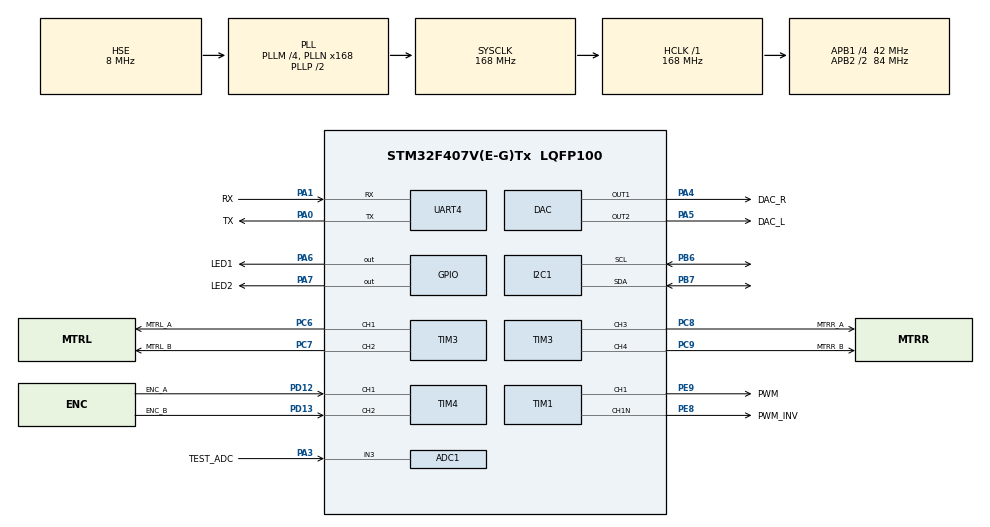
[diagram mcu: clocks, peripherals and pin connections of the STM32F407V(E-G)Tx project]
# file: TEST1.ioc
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ADC1.Channel-2\#ChannelRegularConversion=ADC_CHANNEL_3
ADC1.NbrOfConversionFlag=1
ADC1.Rank-2\#ChannelRegularConversion=1
ADC1.SamplingTime-2\#ChannelRegularConversion=ADC_SAMPLETIME_3CYCLES
ADC1.master=1
Dma.ADC1.0.Direction=DMA_PERIPH_TO_MEMORY
Dma.ADC1.0.FIFOMode=DMA_FIFOMODE_DISABLE
Dma.ADC1.0.Instance=DMA2_Stream0
Dma.ADC1.0.MemDataAlignment=DMA_MDATAALIGN_HALFWORD
Dma.ADC1.0.MemInc=DMA_MINC_ENABLE
Dma.ADC1.0.Mode=DMA_CIRCULAR
Dma.ADC1.0.PeriphDataAlignment=DMA_PDATAALIGN_HALFWORD
Dma.ADC1.0.PeriphInc=DMA_PINC_DISABLE
Dma.ADC1.0.Priority=DMA_PRIORITY_LOW
Dma.Request0=ADC1
Mcu.Family=STM32F4
Mcu.Name=STM32F407V(E-G)Tx
Mcu.Package=LQFP100
NVIC.DMA2_Stream0_IRQn=true\:0\:0\:false\:false\:true\:false\:true\:true
NVIC.PriorityGroup=NVIC_PRIORITYGROUP_4
PA0-WKUP.GPIO_Label=TX
PA0-WKUP.Mode=Asynchronous
PA0-WKUP.Signal=UART4_TX
PA1.GPIO_Label=RX
PA1.Mode=Asynchronous
PA1.Signal=UART4_RX
PA13.Mode=Trace_Asynchronous_SW
PA13.Signal=SYS_JTMS-SWDIO
PA14.Mode=Trace_Asynchronous_SW
PA14.Signal=SYS_JTCK-SWCLK
PA3.GPIO_Label=TEST_ADC
PA3.Signal=ADCx_IN3
PA4.GPIO_Label=DAC_R
PA4.Signal=COMP_DAC1_group
PA5.GPIO_Label=DAC_L
PA5.Signal=COMP_DAC2_group
PA6.GPIO_Label=LED1
PA6.Signal=GPIO_Output
PA7.GPIO_Label=LED2
PA7.Signal=GPIO_Output
PB3.Mode=Trace_Asynchronous_SW
PB3.Signal=SYS_JTDO-SWO
PB6.Mode=I2C
PB6.Signal=I2C1_SCL
PB7.Mode=I2C
PB7.Signal=I2C1_SDA
PC14-OSC32_IN.Mode=LSE-External-Oscillator
PC14-OSC32_IN.Signal=RCC_OSC32_IN
PC15-OSC32_OUT.Mode=LSE-External-Oscillator
PC15-OSC32_OUT.Signal=RCC_OSC32_OUT
PC6.GPIO_Label=MTRL_A
PC6.Signal=S_TIM3_CH1
PC7.GPIO_Label=MTRL_B
PC7.Signal=S_TIM3_CH2
PC8.GPIO_Label=MTRR_A
PC8.Signal=S_TIM3_CH3
PC9.GPIO_Label=MTRR_B
PC9.Signal=S_TIM3_CH4
PD12.GPIO_Label=ENC_A
PD12.Signal=S_TIM4_CH1
PD13.GPIO_Label=ENC_B
PD13.Signal=S_TIM4_CH2
PE8.GPIO_Label=PWM_INV
PE8.Mode=PWM Generation1 CH1 CH1N
PE8.Signal=TIM1_CH1N
PE9.GPIO_Label=PWM
PE9.Signal=S_TIM1_CH1
PH0-OSC_IN.Mode=HSE-External-Oscillator
PH0-OSC_IN.Signal=RCC_OSC_IN
PH1-OSC_OUT.Mode=HSE-External-Oscillator
PH1-OSC_OUT.Signal=RCC_OSC_OUT
ProjectManager.HeapSize=0x200
ProjectManager.StackSize=0x400
ProjectManager.TargetToolchain=CMake
RCC.48MHZClocksFreq_Value=84000000
RCC.AHBFreq_Value=168000000
RCC.APB1CLKDivider=RCC_HCLK_DIV4
RCC.APB1Freq_Value=42000000
RCC.APB1TimFreq_Value=84000000
RCC.APB2CLKDivider=RCC_HCLK_DIV2
RCC.APB2Freq_Value=84000000
RCC.APB2TimFreq_Value=168000000
RCC.CortexFreq_Value=168000000
RCC.HCLKFreq_Value=168000000
RCC.HSE_VALUE=8000000
RCC.HSI_VALUE=16000000
RCC.PLLM=4
RCC.PLLN=168
RCC.PLLSourceVirtual=RCC_PLLSOURCE_HSE
RCC.RCC_RTC_Clock_Source=RCC_RTCCLKSOURCE_LSE
RCC.SYSCLKFreq_VALUE=168000000
RCC.SYSCLKSource=RCC_SYSCLKSOURCE_PLLCLK
RCC.VCOOutputFreq_Value=336000000
SH.ADCx_IN3.0=ADC1_IN3,IN3
SH.COMP_DAC1_group.0=DAC_OUT1,DAC_OUT1
SH.COMP_DAC2_group.0=DAC_OUT2,DAC_OUT2
SH.S_TIM1_CH1.0=TIM1_CH1,PWM Generation1 CH1 CH1N
SH.S_TIM3_CH1.0=TIM3_CH1,PWM Generation1 CH1
SH.S_TIM3_CH2.0=TIM3_CH2,PWM Generation2 CH2
SH.S_TIM3_CH3.0=TIM3_CH3,PWM Generation3 CH3
SH.S_TIM3_CH4.0=TIM3_CH4,PWM Generation4 CH4
SH.S_TIM4_CH1.0=TIM4_CH1,Encoder_Interface
SH.S_TIM4_CH2.0=TIM4_CH2,Encoder_Interface
TIM1.Channel-PWM\ Generation1\ CH1\ CH1N=TIM_CHANNEL_1
TIM1.DeadTime=50
TIM3.Channel-PWM\ Generation1\ CH1=TIM_CHANNEL_1
TIM3.Channel-PWM\ Generation2\ CH2=TIM_CHANNEL_2
TIM3.Channel-PWM\ Generation3\ CH3=TIM_CHANNEL_3
TIM3.Channel-PWM\ Generation4\ CH4=TIM_CHANNEL_4
UART4.VirtualMode=Asynchronous
VP_RTC_VS_RTC_Activate.Mode=RTC_Enabled
board=custom

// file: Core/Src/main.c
/* USER CODE BEGIN Header */
/**
  ******************************************************************************
  * @file           : main.c
  * @brief          : Main program body
  ******************************************************************************
  * @attention
  *
  * Copyright (c) 2026 STMicroelectronics.
  * All rights reserved.
  *
  * This software is licensed under terms that can be found in the LICENSE file
  * in the root directory of this software component.
  * If no LICENSE file comes with this software, it is provided AS-IS.
  *
  ******************************************************************************
  */
/* USER CODE END Header */
#include "main.h"

/* USER CODE BEGIN Includes */
#include <stdio.h>
#include "encoder.h"
/* USER CODE END Includes */

/* USER CODE BEGIN PTD */
typedef enum {
  MTRL_A,
  MTRL_B,
  MTRR_A,
  MTRR_B,
  PWM_ADV
} PWMChannels_t;
/* USER CODE END PTD */

ADC_HandleTypeDef hadc1;
DMA_HandleTypeDef hdma_adc1;

DAC_HandleTypeDef hdac;

I2C_HandleTypeDef hi2c1;

RTC_HandleTypeDef hrtc;

TIM_HandleTypeDef htim1;
TIM_HandleTypeDef htim3;
TIM_HandleTypeDef htim4;

UART_HandleTypeDef huart4;

uint8_t pwm_adv_duty = 0;

void SystemClock_Config(void);
static void MX_GPIO_Init(void);
static void MX_DMA_Init(void);
static void MX_ADC1_Init(void);
static void MX_DAC_Init(void);
static void MX_I2C1_Init(void);
static void MX_RTC_Init(void);
static void MX_TIM1_Init(void);
static void MX_UART4_Init(void);
static void MX_TIM3_Init(void);
static void MX_TIM4_Init(void);
/* USER CODE BEGIN PFP */

int __io_putchar(int ch) {
    HAL_UART_Transmit(&huart4, (uint8_t*)&ch, 1, HAL_MAX_DELAY);
    return ch;
}

int map(int x, int in_min, int in_max, int out_min, int out_max){
    return (x - in_min) * (out_max - out_min) / (in_max - in_min) + out_min;
}

void blink_led(uint16_t delay);

void pwm_setup(void);
void pwm_set_duty(PWMChannels_t channel, uint8_t duty);

/* USER CODE END PFP */

int main(void)
{

  /* MCU Configuration--------------------------------------------------------*/

  /* Reset of all peripherals, Initializes the Flash interface and the Systick. */
  HAL_Init();

  /* Configure the system clock */
  SystemClock_Config();

  /* Initialize all configured peripherals */
  MX_GPIO_Init();
  MX_DMA_Init();
  MX_ADC1_Init();
  MX_DAC_Init();
  MX_I2C1_Init();
  MX_RTC_Init();
  MX_TIM1_Init();
  MX_UART4_Init();
  MX_TIM3_Init();
  MX_TIM4_Init();
  /* USER CODE BEGIN 2 */
    pwm_setup();
    encoder_init();
    printf("System Initialized\n");
    printf("HELLO WORLD! FROM STM32F4\n");
  /* USER CODE END 2 */

  /* Infinite loop */
  while (1)
  {
    blink_led(1000);

    encoder_update();
    pwm_adv_duty = encoder_get_delta();

    pwm_set_duty(PWM_ADV, pwm_adv_duty);
  }
}

void SystemClock_Config(void)
{
  RCC_OscInitTypeDef RCC_OscInitStruct = {0};
  RCC_ClkInitTypeDef RCC_ClkInitStruct = {0};

  /** Configure the main internal regulator output voltage
  */
  __HAL_RCC_PWR_CLK_ENABLE();
  __HAL_PWR_VOLTAGESCALING_CONFIG(PWR_REGULATOR_VOLTAGE_SCALE1);

  /** Initializes the RCC Oscillators according to the specified parameters
  * in the RCC_OscInitTypeDef structure.
  */
  RCC_OscInitStruct.OscillatorType = RCC_OSCILLATORTYPE_HSE|RCC_OSCILLATORTYPE_LSE;
  RCC_OscInitStruct.HSEState = RCC_HSE_ON;
  RCC_OscInitStruct.LSEState = RCC_LSE_ON;
  RCC_OscInitStruct.PLL.PLLState = RCC_PLL_ON;
  RCC_OscInitStruct.PLL.PLLSource = RCC_PLLSOURCE_HSE;
  RCC_OscInitStruct.PLL.PLLM = 4;
  RCC_OscInitStruct.PLL.PLLN = 168;
  RCC_OscInitStruct.PLL.PLLP = RCC_PLLP_DIV2;
  RCC_OscInitStruct.PLL.PLLQ = 4;
  if (HAL_RCC_OscConfig(&RCC_OscInitStruct) != HAL_OK)
  {
    Error_Handler();
  }

  /** Initializes the CPU, AHB and APB buses clocks
  */
  RCC_ClkInitStruct.ClockType = RCC_CLOCKTYPE_HCLK|RCC_CLOCKTYPE_SYSCLK
                              |RCC_CLOCKTYPE_PCLK1|RCC_CLOCKTYPE_PCLK2;
  RCC_ClkInitStruct.SYSCLKSource = RCC_SYSCLKSOURCE_PLLCLK;
  RCC_ClkInitStruct.AHBCLKDivider = RCC_SYSCLK_DIV1;
  RCC_ClkInitStruct.APB1CLKDivider = RCC_HCLK_DIV4;
  RCC_ClkInitStruct.APB2CLKDivider = RCC_HCLK_DIV2;

  if (HAL_RCC_ClockConfig(&RCC_ClkInitStruct, FLASH_LATENCY_5) != HAL_OK)
  {
    Error_Handler();
  }
}

static void MX_ADC1_Init(void)
{

  ADC_ChannelConfTypeDef sConfig = {0};

  /** Configure the global features of the ADC (Clock, Resolution, Data Alignment and number of conversion)
  */
  hadc1.Instance = ADC1;
  hadc1.Init.ClockPrescaler = ADC_CLOCK_SYNC_PCLK_DIV4;
  hadc1.Init.Resolution = ADC_RESOLUTION_12B;
  hadc1.Init.ScanConvMode = DISABLE;
  hadc1.Init.ContinuousConvMode = DISABLE;
  hadc1.Init.DiscontinuousConvMode = DISABLE;
  hadc1.Init.ExternalTrigConvEdge = ADC_EXTERNALTRIGCONVEDGE_NONE;
  hadc1.Init.ExternalTrigConv = ADC_SOFTWARE_START;
  hadc1.Init.DataAlign = ADC_DATAALIGN_RIGHT;
  hadc1.Init.NbrOfConversion = 1;
  hadc1.Init.DMAContinuousRequests = DISABLE;
  hadc1.Init.EOCSelection = ADC_EOC_SINGLE_CONV;
  if (HAL_ADC_Init(&hadc1) != HAL_OK)
  {
    Error_Handler();
  }

  /** Configure for the selected ADC regular channel its corresponding rank in the sequencer and its sample time.
  */
  sConfig.Channel = ADC_CHANNEL_3;
  sConfig.Rank = 1;
  sConfig.SamplingTime = ADC_SAMPLETIME_3CYCLES;
  if (HAL_ADC_ConfigChannel(&hadc1, &sConfig) != HAL_OK)
  {
    Error_Handler();
  }

}

static void MX_DAC_Init(void)
{

  DAC_ChannelConfTypeDef sConfig = {0};

  /** DAC Initialization
  */
  hdac.Instance = DAC;
  if (HAL_DAC_Init(&hdac) != HAL_OK)
  {
    Error_Handler();
  }

  /** DAC channel OUT1 config
  */
  sConfig.DAC_Trigger = DAC_TRIGGER_NONE;
  sConfig.DAC_OutputBuffer = DAC_OUTPUTBUFFER_ENABLE;
  if (HAL_DAC_ConfigChannel(&hdac, &sConfig, DAC_CHANNEL_1) != HAL_OK)
  {
    Error_Handler();
  }

  /** DAC channel OUT2 config
  */
  if (HAL_DAC_ConfigChannel(&hdac, &sConfig, DAC_CHANNEL_2) != HAL_OK)
  {
    Error_Handler();
  }

}

static void MX_I2C1_Init(void)
{

  hi2c1.Instance = I2C1;
  hi2c1.Init.ClockSpeed = 100000;
  hi2c1.Init.DutyCycle = I2C_DUTYCYCLE_2;
  hi2c1.Init.OwnAddress1 = 0;
  hi2c1.Init.AddressingMode = I2C_ADDRESSINGMODE_7BIT;
  hi2c1.Init.DualAddressMode = I2C_DUALADDRESS_DISABLE;
  hi2c1.Init.OwnAddress2 = 0;
  hi2c1.Init.GeneralCallMode = I2C_GENERALCALL_DISABLE;
  hi2c1.Init.NoStretchMode = I2C_NOSTRETCH_DISABLE;
  if (HAL_I2C_Init(&hi2c1) != HAL_OK)
  {
    Error_Handler();
  }

}

static void MX_RTC_Init(void)
{

  /** Initialize RTC Only
  */
  hrtc.Instance = RTC;
  hrtc.Init.HourFormat = RTC_HOURFORMAT_24;
  hrtc.Init.AsynchPrediv = 127;
  hrtc.Init.SynchPrediv = 255;
  hrtc.Init.OutPut = RTC_OUTPUT_DISABLE;
  hrtc.Init.OutPutPolarity = RTC_OUTPUT_POLARITY_HIGH;
  hrtc.Init.OutPutType = RTC_OUTPUT_TYPE_OPENDRAIN;
  if (HAL_RTC_Init(&hrtc) != HAL_OK)
  {
    Error_Handler();
  }

}

static void MX_TIM1_Init(void)
{

  TIM_MasterConfigTypeDef sMasterConfig = {0};
  TIM_OC_InitTypeDef sConfigOC = {0};
  TIM_BreakDeadTimeConfigTypeDef sBreakDeadTimeConfig = {0};

  htim1.Instance = TIM1;
  htim1.Init.Prescaler = 0;
  htim1.Init.CounterMode = TIM_COUNTERMODE_UP;
  htim1.Init.Period = 65535;
  htim1.Init.ClockDivision = TIM_CLOCKDIVISION_DIV1;
  htim1.Init.RepetitionCounter = 0;
  htim1.Init.AutoReloadPreload = TIM_AUTORELOAD_PRELOAD_DISABLE;
  if (HAL_TIM_PWM_Init(&htim1) != HAL_OK)
  {
    Error_Handler();
  }
  sMasterConfig.MasterOutputTrigger = TIM_TRGO_RESET;
  sMasterConfig.MasterSlaveMode = TIM_MASTERSLAVEMODE_DISABLE;
  if (HAL_TIMEx_MasterConfigSynchronization(&htim1, &sMasterConfig) != HAL_OK)
  {
    Error_Handler();
  }
  sConfigOC.OCMode = TIM_OCMODE_PWM1;
  sConfigOC.Pulse = 0;
  sConfigOC.OCPolarity = TIM_OCPOLARITY_HIGH;
  sConfigOC.OCNPolarity = TIM_OCNPOLARITY_HIGH;
  sConfigOC.OCFastMode = TIM_OCFAST_DISABLE;
  sConfigOC.OCIdleState = TIM_OCIDLESTATE_RESET;
  sConfigOC.OCNIdleState = TIM_OCNIDLESTATE_RESET;
  if (HAL_TIM_PWM_ConfigChannel(&htim1, &sConfigOC, TIM_CHANNEL_1) != HAL_OK)
  {
    Error_Handler();
  }
  sBreakDeadTimeConfig.OffStateRunMode = TIM_OSSR_DISABLE;
  sBreakDeadTimeConfig.OffStateIDLEMode = TIM_OSSI_DISABLE;
  sBreakDeadTimeConfig.LockLevel = TIM_LOCKLEVEL_OFF;
  sBreakDeadTimeConfig.DeadTime = 50;
  sBreakDeadTimeConfig.BreakState = TIM_BREAK_DISABLE;
  sBreakDeadTimeConfig.BreakPolarity = TIM_BREAKPOLARITY_HIGH;
  sBreakDeadTimeConfig.AutomaticOutput = TIM_AUTOMATICOUTPUT_DISABLE;
  if (HAL_TIMEx_ConfigBreakDeadTime(&htim1, &sBreakDeadTimeConfig) != HAL_OK)
  {
    Error_Handler();
  }
  HAL_TIM_MspPostInit(&htim1);

}

static void MX_TIM3_Init(void)
{

  TIM_MasterConfigTypeDef sMasterConfig = {0};
  TIM_OC_InitTypeDef sConfigOC = {0};

  htim3.Instance = TIM3;
  htim3.Init.Prescaler = 0;
  htim3.Init.CounterMode = TIM_COUNTERMODE_UP;
  htim3.Init.Period = 65535;
  htim3.Init.ClockDivision = TIM_CLOCKDIVISION_DIV1;
  htim3.Init.AutoReloadPreload = TIM_AUTORELOAD_PRELOAD_DISABLE;
  if (HAL_TIM_PWM_Init(&htim3) != HAL_OK)
  {
    Error_Handler();
  }
  sMasterConfig.MasterOutputTrigger = TIM_TRGO_RESET;
  sMasterConfig.MasterSlaveMode = TIM_MASTERSLAVEMODE_DISABLE;
  if (HAL_TIMEx_MasterConfigSynchronization(&htim3, &sMasterConfig) != HAL_OK)
  {
    Error_Handler();
  }
  sConfigOC.OCMode = TIM_OCMODE_PWM1;
  sConfigOC.Pulse = 0;
  sConfigOC.OCPolarity = TIM_OCPOLARITY_HIGH;
  sConfigOC.OCFastMode = TIM_OCFAST_DISABLE;
  if (HAL_TIM_PWM_ConfigChannel(&htim3, &sConfigOC, TIM_CHANNEL_1) != HAL_OK)
  {
    Error_Handler();
  }
  if (HAL_TIM_PWM_ConfigChannel(&htim3, &sConfigOC, TIM_CHANNEL_2) != HAL_OK)
  {
    Error_Handler();
  }
  if (HAL_TIM_PWM_ConfigChannel(&htim3, &sConfigOC, TIM_CHANNEL_3) != HAL_OK)
  {
    Error_Handler();
  }
  if (HAL_TIM_PWM_ConfigChannel(&htim3, &sConfigOC, TIM_CHANNEL_4) != HAL_OK)
  {
    Error_Handler();
  }
  HAL_TIM_MspPostInit(&htim3);

}

static void MX_TIM4_Init(void)
{

  TIM_Encoder_InitTypeDef sConfig = {0};
  TIM_MasterConfigTypeDef sMasterConfig = {0};

  htim4.Instance = TIM4;
  htim4.Init.Prescaler = 0;
  htim4.Init.CounterMode = TIM_COUNTERMODE_UP;
  htim4.Init.Period = 65535;
  htim4.Init.ClockDivision = TIM_CLOCKDIVISION_DIV1;
  htim4.Init.AutoReloadPreload = TIM_AUTORELOAD_PRELOAD_DISABLE;
  sConfig.EncoderMode = TIM_ENCODERMODE_TI1;
  sConfig.IC1Polarity = TIM_ICPOLARITY_RISING;
  sConfig.IC1Selection = TIM_ICSELECTION_DIRECTTI;
  sConfig.IC1Prescaler = TIM_ICPSC_DIV1;
  sConfig.IC1Filter = 0;
  sConfig.IC2Polarity = TIM_ICPOLARITY_RISING;
  sConfig.IC2Selection = TIM_ICSELECTION_DIRECTTI;
  sConfig.IC2Prescaler = TIM_ICPSC_DIV1;
  sConfig.IC2Filter = 0;
  if (HAL_TIM_Encoder_Init(&htim4, &sConfig) != HAL_OK)
  {
    Error_Handler();
  }
  sMasterConfig.MasterOutputTrigger = TIM_TRGO_RESET;
  sMasterConfig.MasterSlaveMode = TIM_MASTERSLAVEMODE_DISABLE;
  if (HAL_TIMEx_MasterConfigSynchronization(&htim4, &sMasterConfig) != HAL_OK)
  {
    Error_Handler();
  }

}

static void MX_UART4_Init(void)
{

  huart4.Instance = UART4;
  huart4.Init.BaudRate = 115200;
  huart4.Init.WordLength = UART_WORDLENGTH_8B;
  huart4.Init.StopBits = UART_STOPBITS_1;
  huart4.Init.Parity = UART_PARITY_NONE;
  huart4.Init.Mode = UART_MODE_TX_RX;
  huart4.Init.HwFlowCtl = UART_HWCONTROL_NONE;
  huart4.Init.OverSampling = UART_OVERSAMPLING_16;
  if (HAL_UART_Init(&huart4) != HAL_OK)
  {
    Error_Handler();
  }

}

static void MX_DMA_Init(void)
{

  /* DMA controller clock enable */
  __HAL_RCC_DMA2_CLK_ENABLE();

  /* DMA interrupt init */
  /* DMA2_Stream0_IRQn interrupt configuration */
  HAL_NVIC_SetPriority(DMA2_Stream0_IRQn, 0, 0);
  HAL_NVIC_EnableIRQ(DMA2_Stream0_IRQn);

}

static void MX_GPIO_Init(void)
{
  GPIO_InitTypeDef GPIO_InitStruct = {0};

  /* GPIO Ports Clock Enable */
  __HAL_RCC_GPIOC_CLK_ENABLE();
  __HAL_RCC_GPIOH_CLK_ENABLE();
  __HAL_RCC_GPIOA_CLK_ENABLE();
  __HAL_RCC_GPIOE_CLK_ENABLE();
  __HAL_RCC_GPIOD_CLK_ENABLE();
  __HAL_RCC_GPIOB_CLK_ENABLE();

  /*Configure GPIO pin Output Level */
  HAL_GPIO_WritePin(GPIOA, LED1_Pin|LED2_Pin, GPIO_PIN_RESET);

  /*Configure GPIO pins : LED1_Pin LED2_Pin */
  GPIO_InitStruct.Pin = LED1_Pin|LED2_Pin;
  GPIO_InitStruct.Mode = GPIO_MODE_OUTPUT_PP;
  GPIO_InitStruct.Pull = GPIO_NOPULL;
  GPIO_InitStruct.Speed = GPIO_SPEED_FREQ_LOW;
  HAL_GPIO_Init(GPIOA, &GPIO_InitStruct);

}

/* USER CODE BEGIN 4 */

void blink_led(uint16_t delay) {
    HAL_GPIO_TogglePin(LED1_GPIO_Port, LED1_Pin);
    HAL_GPIO_WritePin(LED2_GPIO_Port, LED2_Pin, !HAL_GPIO_ReadPin(LED1_GPIO_Port, LED1_Pin));
    HAL_Delay(delay);
}

void pwm_setup(void) {
    __HAL_TIM_SET_PRESCALER(&htim1, 0);
    __HAL_TIM_SET_AUTORELOAD(&htim1, 1679); //100Khz -> 168MHz / 100KHz = 1680
    __HAL_TIM_SET_PRESCALER(&htim3, 0);
    __HAL_TIM_SET_AUTORELOAD(&htim3, 4199); //20kHz -> 84MHz / 20kHz = 4200

    HAL_TIM_PWM_Start(&htim1, TIM_CHANNEL_1);
    HAL_TIMEx_PWMN_Start(&htim1, TIM_CHANNEL_1);

    HAL_TIM_PWM_Start(&htim3, TIM_CHANNEL_1);
    HAL_TIM_PWM_Start(&htim3, TIM_CHANNEL_2);
    HAL_TIM_PWM_Start(&htim3, TIM_CHANNEL_3);
    HAL_TIM_PWM_Start(&htim3, TIM_CHANNEL_4);
}

void pwm_set_duty(PWMChannels_t channel, uint8_t duty) {
    if(duty < 0) duty = 0;
    if(duty > 100) duty = 100;

    uint16_t pulse;

    if(channel == PWM_ADV){
        pulse = (uint16_t)(duty * (__HAL_TIM_GET_AUTORELOAD(&htim1) + 1) / 100.0f);
    } else {
        pulse = (uint16_t)(duty * (__HAL_TIM_GET_AUTORELOAD(&htim3) + 1) / 100.0f);
    }

    switch (channel) {
        case MTRL_A:
            __HAL_TIM_SET_COMPARE(&htim3, TIM_CHANNEL_1, pulse);
            break;
        case MTRL_B:
            __HAL_TIM_SET_COMPARE(&htim3, TIM_CHANNEL_2, pulse);
            break;
        case MTRR_A:
            __HAL_TIM_SET_COMPARE(&htim3, TIM_CHANNEL_3, pulse);
            break;
        case MTRR_B:
            __HAL_TIM_SET_COMPARE(&htim3, TIM_CHANNEL_4, pulse);
            break;
        case PWM_ADV:
            __HAL_TIM_SET_COMPARE(&htim1, TIM_CHANNEL_1, pulse);
            break;
    }
}

void encoder_setup(void) {
    __HAL_TIM_SET_COUNTER(&htim4, 0);
    HAL_TIM_Encoder_Start(&htim4, TIM_CHANNEL_ALL);
}

/* USER CODE END 4 */

void Error_Handler(void)
{
  __disable_irq();
  while (1)
  {
  }
}
